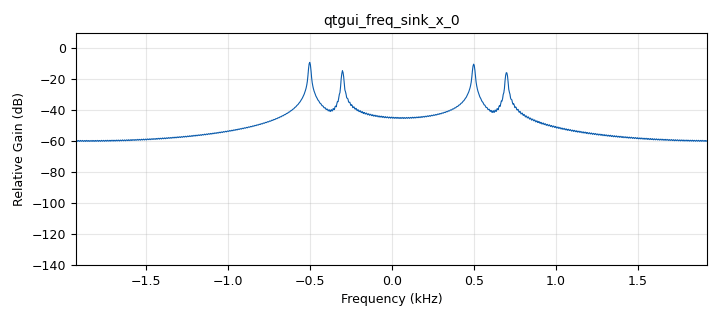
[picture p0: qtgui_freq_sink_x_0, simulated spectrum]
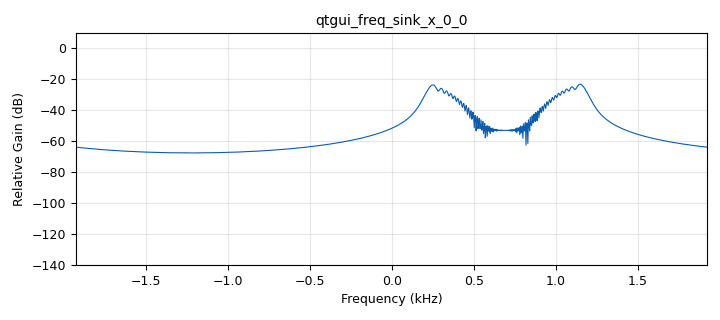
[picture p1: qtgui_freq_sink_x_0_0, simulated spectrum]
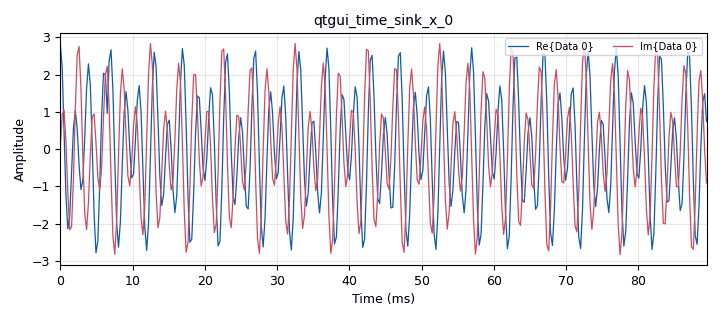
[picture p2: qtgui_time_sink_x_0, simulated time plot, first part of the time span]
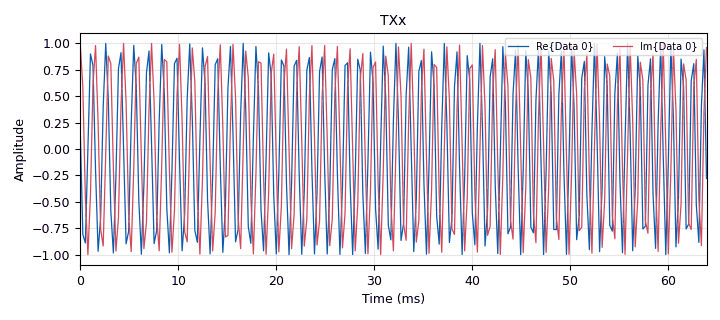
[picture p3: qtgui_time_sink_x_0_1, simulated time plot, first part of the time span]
<?xml version='1.0' encoding='utf-8'?>
<?grc format='1' created='3.7.13'?>
<flow_graph>
<block>
<key>options</key>
<param><key>id</key><value>top_block</value></param>
<param><key>generate_options</key><value>qt_gui</value></param>
</block>
<block>
<key>variable</key>
<param><key>id</key><value>chirp_time</value></param>
<param><key>value</key><value>260e-3</value></param>
</block>
<block>
<key>variable</key>
<param><key>id</key><value>fs</value></param>
<param><key>value</key><value>256e3</value></param>
</block>
<block>
<key>variable</key>
<param><key>id</key><value>max_dev</value></param>
<param><key>value</key><value>32e3</value></param>
</block>
<block>
<key>variable</key>
<param><key>id</key><value>nchan</value></param>
<param><key>value</key><value>1</value></param>
</block>
<block>
<key>variable</key>
<param><key>id</key><value>samp_rate</value></param>
<param><key>value</key><value>1000/chirp_time</value></param>
</block>
<block>
<key>variable</key>
<param><key>id</key><value>variable_0</value></param>
<param><key>value</key><value>0</value></param>
</block>
<block>
<key>analog_sig_source_x</key>
<param><key>id</key><value>analog_sig_source_x_0</value></param>
<param><key>amp</key><value>10</value></param>
<param><key>freq</key><value>1/chirp_time</value></param>
<param><key>offset</key><value>2</value></param>
<param><key>type</key><value>float</value></param>
<param><key>samp_rate</key><value>samp_rate</value></param>
<param><key>waveform</key><value>analog.GR_SAW_WAVE</value></param>
</block>
<block>
<key>audio_sink</key>
<param><key>id</key><value>audio_sink_0</value></param>
<param><key>samp_rate</key><value>16000</value></param>
</block>
<block>
<key>blocks_add_xx</key>
<param><key>id</key><value>blocks_add_xx_0</value></param>
<param><key>type</key><value>complex</value></param>
<param><key>num_inputs</key><value>3</value></param>
</block>
<block>
<key>blocks_complex_to_float</key>
<param><key>id</key><value>blocks_complex_to_float_0</value></param>
</block>
<block>
<key>blocks_delay</key>
<param><key>id</key><value>blocks_delay_0</value></param>
<param><key>delay</key><value>2500</value></param>
<param><key>type</key><value>complex</value></param>
</block>
<block>
<key>blocks_delay</key>
<param><key>id</key><value>blocks_delay_0_0</value></param>
<param><key>delay</key><value>300</value></param>
<param><key>type</key><value>complex</value></param>
</block>
<block>
<key>blocks_delay</key>
<param><key>id</key><value>blocks_delay_0_0_0</value></param>
<param><key>delay</key><value>1500</value></param>
<param><key>type</key><value>complex</value></param>
</block>
<block>
<key>blocks_file_sink</key>
<param><key>id</key><value>blocks_file_sink_0</value></param>
<param><key>_enabled</key><value>0</value></param>
<param><key>file</key><value>test_saw.bin</value></param>
<param><key>type</key><value>float</value></param>
</block>
<block>
<key>blocks_file_sink</key>
<param><key>id</key><value>blocks_file_sink_2</value></param>
<param><key>_enabled</key><value>0</value></param>
<param><key>file</key><value>test_multi.bin</value></param>
<param><key>type</key><value>complex</value></param>
</block>
<block>
<key>blocks_head</key>
<param><key>id</key><value>blocks_head_0</value></param>
<param><key>_enabled</key><value>0</value></param>
<param><key>num_items</key><value>20000000</value></param>
<param><key>type</key><value>complex</value></param>
</block>
<block>
<key>blocks_head</key>
<param><key>id</key><value>blocks_head_0_0</value></param>
<param><key>_enabled</key><value>0</value></param>
<param><key>num_items</key><value>20000000</value></param>
<param><key>type</key><value>float</value></param>
</block>
<block>
<key>blocks_multiply_conjugate_cc</key>
<param><key>id</key><value>blocks_multiply_conjugate_cc_0</value></param>
</block>
<block>
<key>blocks_null_sink</key>
<param><key>id</key><value>blocks_null_sink_0</value></param>
<param><key>bus_conns</key><value>[[0,],]</value></param>
<param><key>type</key><value>float</value></param>
</block>
<block>
<key>blocks_skiphead</key>
<param><key>id</key><value>blocks_skiphead_0</value></param>
<param><key>_enabled</key><value>0</value></param>
<param><key>num_items</key><value>524288</value></param>
<param><key>type</key><value>complex</value></param>
</block>
<block>
<key>blocks_skiphead</key>
<param><key>id</key><value>blocks_skiphead_0_0</value></param>
<param><key>_enabled</key><value>0</value></param>
<param><key>num_items</key><value>524288</value></param>
<param><key>type</key><value>float</value></param>
</block>
<block>
<key>blocks_throttle</key>
<param><key>id</key><value>blocks_throttle_0</value></param>
<param><key>samples_per_second</key><value>samp_rate</value></param>
<param><key>type</key><value>complex</value></param>
</block>
<block>
<key>blocks_vco_c</key>
<param><key>id</key><value>blocks_vco_c_0</value></param>
<param><key>amplitude</key><value>1</value></param>
<param><key>samp_rate</key><value>samp_rate</value></param>
<param><key>sensitivity</key><value>100*2*np.pi</value></param>
</block>
<block>
<key>import</key>
<param><key>id</key><value>import_0</value></param>
<param><key>import</key><value>import numpy as np</value></param>
</block>
<block>
<key>qtgui_freq_sink_x</key>
<param><key>id</key><value>qtgui_freq_sink_x_0</value></param>
<param><key>bw</key><value>samp_rate</value></param>
<param><key>fc</key><value>0</value></param>
<param><key>fftsize</key><value>1024</value></param>
<param><key>showports</key><value>True</value></param>
<param><key>type</key><value>complex</value></param>
<param><key>wintype</key><value>firdes.WIN_BLACKMAN_hARRIS</value></param>
</block>
<block>
<key>qtgui_freq_sink_x</key>
<param><key>id</key><value>qtgui_freq_sink_x_0_0</value></param>
<param><key>bw</key><value>samp_rate</value></param>
<param><key>fc</key><value>0</value></param>
<param><key>fftsize</key><value>1024</value></param>
<param><key>showports</key><value>True</value></param>
<param><key>type</key><value>complex</value></param>
<param><key>wintype</key><value>firdes.WIN_BLACKMAN_hARRIS</value></param>
</block>
<block>
<key>qtgui_time_sink_x</key>
<param><key>id</key><value>qtgui_time_sink_x_0</value></param>
<param><key>autoscale</key><value>True</value></param>
<param><key>color1</key><value>"blue"</value></param>
<param><key>label1</key><value></value></param>
<param><key>color2</key><value>"red"</value></param>
<param><key>label2</key><value></value></param>
<param><key>size</key><value>1024</value></param>
<param><key>srate</key><value>samp_rate</value></param>
<param><key>type</key><value>complex</value></param>
</block>
<block>
<key>qtgui_time_sink_x</key>
<param><key>id</key><value>qtgui_time_sink_x_0_0</value></param>
<param><key>autoscale</key><value>True</value></param>
<param><key>_enabled</key><value>0</value></param>
<param><key>color1</key><value>"blue"</value></param>
<param><key>label1</key><value></value></param>
<param><key>size</key><value>1024*1000</value></param>
<param><key>srate</key><value>32000</value></param>
<param><key>type</key><value>float</value></param>
</block>
<block>
<key>qtgui_time_sink_x</key>
<param><key>id</key><value>qtgui_time_sink_x_0_1</value></param>
<param><key>autoscale</key><value>True</value></param>
<param><key>color1</key><value>"blue"</value></param>
<param><key>label1</key><value></value></param>
<param><key>color2</key><value>"red"</value></param>
<param><key>label2</key><value></value></param>
<param><key>name</key><value>"TXx"</value></param>
<param><key>size</key><value>1024</value></param>
<param><key>srate</key><value>samp_rate</value></param>
<param><key>type</key><value>complex</value></param>
</block>
<block>
<key>rational_resampler_xxx</key>
<param><key>id</key><value>rational_resampler_xxx_0</value></param>
<param><key>decim</key><value>220</value></param>
<param><key>_enabled</key><value>0</value></param>
<param><key>interp</key><value>1</value></param>
<param><key>taps</key><value></value></param>
<param><key>type</key><value>ccc</value></param>
</block>
<connection><source_block_id>analog_sig_source_x_0</source_block_id><sink_block_id>blocks_vco_c_0</sink_block_id><source_key>0</source_key><sink_key>0</sink_key></connection>
<connection><source_block_id>blocks_add_xx_0</source_block_id><sink_block_id>blocks_multiply_conjugate_cc_0</sink_block_id><source_key>0</source_key><sink_key>0</sink_key></connection>
<connection><source_block_id>blocks_complex_to_float_0</source_block_id><sink_block_id>blocks_null_sink_0</sink_block_id><source_key>1</source_key><sink_key>0</sink_key></connection>
<connection><source_block_id>blocks_complex_to_float_0</source_block_id><sink_block_id>audio_sink_0</sink_block_id><source_key>0</source_key><sink_key>0</sink_key></connection>
<connection><source_block_id>blocks_delay_0</source_block_id><sink_block_id>blocks_add_xx_0</sink_block_id><source_key>0</source_key><sink_key>0</sink_key></connection>
<connection><source_block_id>blocks_delay_0_0</source_block_id><sink_block_id>blocks_add_xx_0</sink_block_id><source_key>0</source_key><sink_key>1</sink_key></connection>
<connection><source_block_id>blocks_delay_0_0_0</source_block_id><sink_block_id>blocks_add_xx_0</sink_block_id><source_key>0</source_key><sink_key>2</sink_key></connection>
<connection><source_block_id>blocks_head_0</source_block_id><sink_block_id>blocks_delay_0</sink_block_id><source_key>0</source_key><sink_key>0</sink_key></connection>
<connection><source_block_id>blocks_head_0</source_block_id><sink_block_id>blocks_delay_0_0</sink_block_id><source_key>0</source_key><sink_key>0</sink_key></connection>
<connection><source_block_id>blocks_head_0</source_block_id><sink_block_id>blocks_delay_0_0_0</sink_block_id><source_key>0</source_key><sink_key>0</sink_key></connection>
<connection><source_block_id>blocks_head_0</source_block_id><sink_block_id>blocks_multiply_conjugate_cc_0</sink_block_id><source_key>0</source_key><sink_key>1</sink_key></connection>
<connection><source_block_id>blocks_head_0_0</source_block_id><sink_block_id>blocks_file_sink_0</sink_block_id><source_key>0</source_key><sink_key>0</sink_key></connection>
<connection><source_block_id>blocks_multiply_conjugate_cc_0</source_block_id><sink_block_id>qtgui_freq_sink_x_0</sink_block_id><source_key>0</source_key><sink_key>0</sink_key></connection>
<connection><source_block_id>blocks_multiply_conjugate_cc_0</source_block_id><sink_block_id>qtgui_time_sink_x_0</sink_block_id><source_key>0</source_key><sink_key>0</sink_key></connection>
<connection><source_block_id>blocks_multiply_conjugate_cc_0</source_block_id><sink_block_id>rational_resampler_xxx_0</sink_block_id><source_key>0</source_key><sink_key>0</sink_key></connection>
<connection><source_block_id>blocks_skiphead_0</source_block_id><sink_block_id>blocks_head_0</sink_block_id><source_key>0</source_key><sink_key>0</sink_key></connection>
<connection><source_block_id>blocks_skiphead_0_0</source_block_id><sink_block_id>blocks_head_0_0</sink_block_id><source_key>0</source_key><sink_key>0</sink_key></connection>
<connection><source_block_id>blocks_throttle_0</source_block_id><sink_block_id>blocks_complex_to_float_0</sink_block_id><source_key>0</source_key><sink_key>0</sink_key></connection>
<connection><source_block_id>blocks_throttle_0</source_block_id><sink_block_id>blocks_delay_0</sink_block_id><source_key>0</source_key><sink_key>0</sink_key></connection>
<connection><source_block_id>blocks_throttle_0</source_block_id><sink_block_id>blocks_delay_0_0</sink_block_id><source_key>0</source_key><sink_key>0</sink_key></connection>
<connection><source_block_id>blocks_throttle_0</source_block_id><sink_block_id>blocks_delay_0_0_0</sink_block_id><source_key>0</source_key><sink_key>0</sink_key></connection>
<connection><source_block_id>blocks_throttle_0</source_block_id><sink_block_id>qtgui_freq_sink_x_0_0</sink_block_id><source_key>0</source_key><sink_key>0</sink_key></connection>
<connection><source_block_id>blocks_throttle_0</source_block_id><sink_block_id>qtgui_time_sink_x_0_1</sink_block_id><source_key>0</source_key><sink_key>0</sink_key></connection>
<connection><source_block_id>blocks_vco_c_0</source_block_id><sink_block_id>blocks_multiply_conjugate_cc_0</sink_block_id><source_key>0</source_key><sink_key>1</sink_key></connection>
<connection><source_block_id>blocks_vco_c_0</source_block_id><sink_block_id>blocks_skiphead_0</sink_block_id><source_key>0</source_key><sink_key>0</sink_key></connection>
<connection><source_block_id>blocks_vco_c_0</source_block_id><sink_block_id>blocks_throttle_0</sink_block_id><source_key>0</source_key><sink_key>0</sink_key></connection>
<connection><source_block_id>rational_resampler_xxx_0</source_block_id><sink_block_id>blocks_file_sink_2</sink_block_id><source_key>0</source_key><sink_key>0</sink_key></connection>
</flow_graph>
